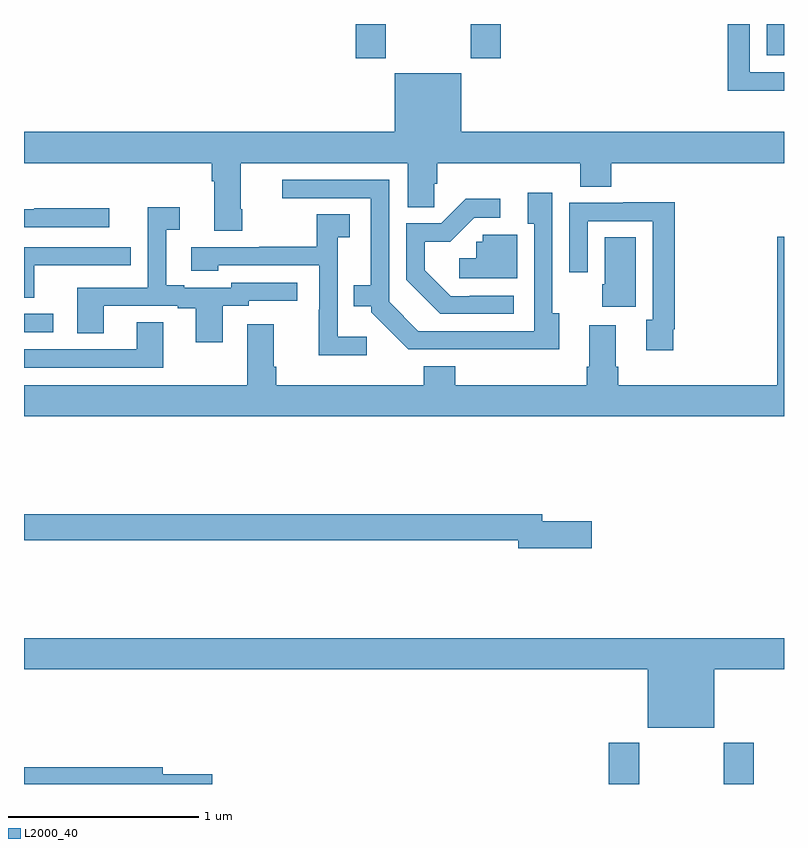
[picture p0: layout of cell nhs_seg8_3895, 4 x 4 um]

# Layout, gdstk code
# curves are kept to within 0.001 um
import gdstk
lib = gdstk.Library(unit=1e-6, precision=1e-09)
def R(c, l, rs):  # rectangles x0, y0, x1, y1
    for r in rs: c.add(gdstk.rectangle(r[:2], r[2:], *l))
def P(c, l, *ps):  # polygons
    for p in ps: c.add(gdstk.Polygon(p, *l))
L2000_40 = (2000, 40)

nhs_seg8_3895 = lib.new_cell('nhs_seg8_3895')
R(nhs_seg8_3895, L2000_40, [(354.077,1111.9,354.237,1112.116), (354.682,1111.9,354.842,1112.116), (351,1114.278,351.154,1114.374), (352.745,1115.721,352.905,1115.9), (353.35,1115.721,353.51,1115.9), (354.908,1115.735,355,1115.9)])
P(nhs_seg8_3895, L2000_40, [(354.995,1115.55),(355,1115.55),(355,1115.646),(354.819,1115.646),(354.819,1115.9),(354.703,1115.9),(354.703,1115.549),(354.995,1115.549)],
  [(352.149,1114.924),(352.141,1114.924),(352.141,1115.168),(353.021,1115.168),(353.021,1114.936),(353.159,1114.936),(353.159,1115.058),(353.174,1115.058),(353.174,1115.168),(353.927,1115.168),(353.927,1115.044),(354.092,1115.044),(354.092,1115.168),(355,1115.168),(355,1115.332),(353.302,1115.332),(353.302,1115.641),(352.952,1115.641),(352.952,1115.332),(351,1115.332),(351,1115.168),(351.989,1115.168),(351.989,1115.072),(352.001,1115.072),(352.001,1114.812),(352.149,1114.812)],
  [(353.818,1114.378),(353.781,1114.378),(353.781,1115.011),(353.651,1115.011),(353.651,1114.85),(353.685,1114.85),(353.685,1114.284),(353.076,1114.284),(352.923,1114.437),(352.923,1115.079),(352.359,1115.079),(352.359,1114.983),(352.826,1114.983),(352.826,1114.525),(352.735,1114.525),(352.735,1114.415),(352.827,1114.415),(352.827,1114.383),(353.022,1114.188),(353.818,1114.187)],
  [(353.578,1114.47),(353.347,1114.47),(353.347,1114.467),(353.247,1114.467),(353.11,1114.604),(353.11,1114.754),(353.243,1114.754),(353.37,1114.881),(353.506,1114.881),(353.506,1114.979),(353.324,1114.979),(353.196,1114.851),(353.013,1114.851),(353.013,1114.553),(353.192,1114.374),(353.578,1114.374)],
  [(354.418,1114.294),(354.425,1114.294),(354.425,1114.963),(354.155,1114.963),(354.155,1114.959),(353.871,1114.959),(353.871,1114.593),(353.967,1114.593),(353.967,1114.863),(354.309,1114.863),(354.309,1114.343),(354.275,1114.343),(354.275,1114.182),(354.418,1114.182)],
  [(352.045,1114.416),(352.182,1114.416),(352.182,1114.443),(352.438,1114.443),(352.438,1114.539),(352.092,1114.539),(352.092,1114.512),(351.844,1114.512),(351.844,1114.525),(351.748,1114.525),(351.748,1114.816),(351.82,1114.816),(351.82,1114.936),(351.651,1114.936),(351.651,1114.512),(351.281,1114.512),(351.281,1114.273),(351.421,1114.273),(351.421,1114.416),(351.809,1114.416),(351.809,1114.404),(351.905,1114.404),(351.905,1114.224),(352.045,1114.224)],
  [(351.448,1114.929),(351.055,1114.929),(351.055,1114.926),(351,1114.926),(351,1114.83),(351.448,1114.83)],
  [(352.804,1114.255),(352.65,1114.255),(352.65,1114.777),(352.714,1114.777),(352.714,1114.898),(352.542,1114.898),(352.542,1114.728),(352.237,1114.728),(352.237,1114.725),(351.879,1114.725),(351.879,1114.601),(352.023,1114.601),(352.023,1114.629),(352.554,1114.629),(352.554,1114.397),(352.552,1114.397),(352.552,1114.157),(352.804,1114.157)],
  [(353.596,1114.791),(353.415,1114.791),(353.415,1114.755),(353.379,1114.755),(353.379,1114.666),(353.292,1114.666),(353.292,1114.563),(353.596,1114.563)],
  [(355,1114.78),(354.965,1114.78),(354.965,1114),(354.128,1114),(354.128,1114.096),(354.115,1114.096),(354.115,1114.315),(353.975,1114.315),(353.975,1114.096),(353.963,1114.096),(353.963,1114),(353.27,1114),(353.27,1114.099),(353.105,1114.099),(353.105,1114),(352.328,1114),(352.328,1114.096),(352.315,1114.096),(352.315,1114.321),(352.175,1114.321),(352.175,1114),(351,1114),(351,1113.836),(355,1113.836)],
  [(354.22,1114.777),(354.056,1114.777),(354.056,1114.53),(354.044,1114.53),(354.044,1114.412),(354.22,1114.412)],
  [(351.054,1114.629),(351.449,1114.629),(351.449,1114.63),(351.562,1114.63),(351.562,1114.725),(351,1114.725),(351,1114.459),(351.054,1114.459)],
  [(351.733,1114.331),(351.593,1114.331),(351.593,1114.188),(351,1114.188),(351,1114.092),(351.733,1114.092)],
  [(353.989,1113.284),(353.728,1113.284),(353.728,1113.32),(351,1113.32),(351,1113.184),(353.6,1113.184),(353.6,1113.142),(353.989,1113.142)],
  [(354.634,1112.504),(355,1112.504),(355,1112.668),(351,1112.668),(351,1112.504),(354.284,1112.504),(354.284,1112.195),(354.634,1112.195)],
  [(351.991,1111.952),(351.73,1111.952),(351.73,1111.988),(351,1111.988),(351,1111.9),(351.991,1111.9)])

lib.write_gds('nhs_seg8_3895.gds')
